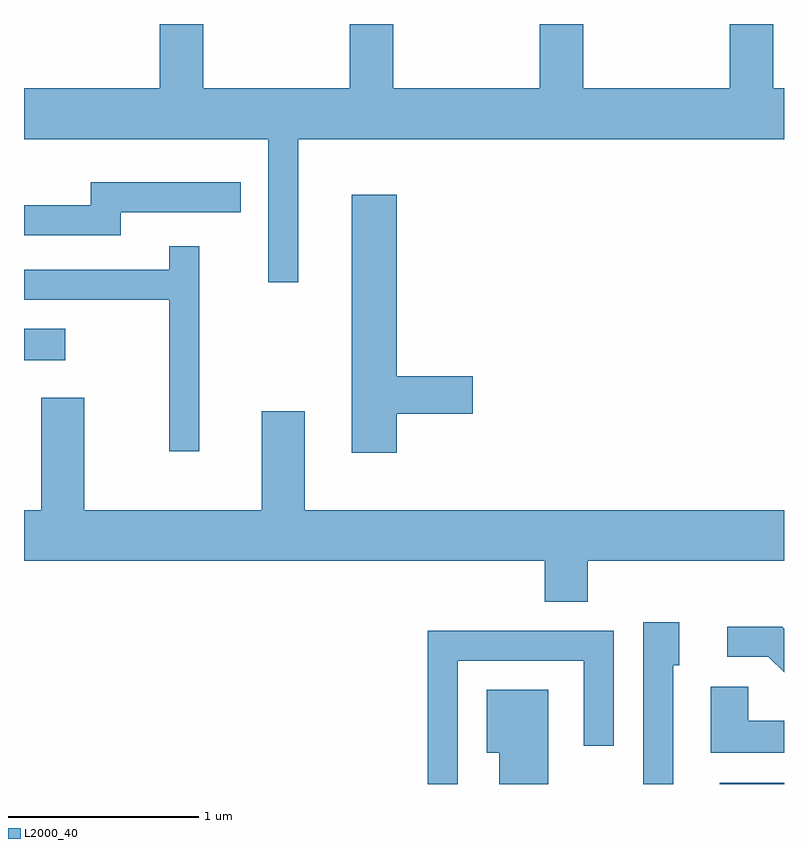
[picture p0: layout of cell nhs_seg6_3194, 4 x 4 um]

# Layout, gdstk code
import gdstk
lib = gdstk.Library(unit=1e-6, precision=1e-09)
def R(c, l, rs):  # rectangles x0, y0, x1, y1
    for r in rs: c.add(gdstk.rectangle(r[:2], r[2:], *l))
def P(c, l, *ps):  # polygons
    for p in ps: c.add(gdstk.Polygon(p, *l))
L2000_40 = (2000, 40)

nhs_seg6_3194 = lib.new_cell('nhs_seg6_3194')
R(nhs_seg6_3194, L2000_40, [(285.273,1582.162,285.611,1582.169), (281.611,1584.391,281.828,1584.559)])
P(nhs_seg6_3194, L2000_40, [(283.054,1585.556),(285.611,1585.556),(285.611,1585.824),(285.554,1585.824),(285.554,1586.162),(285.326,1586.162),(285.326,1585.824),(284.554,1585.824),(284.554,1586.162),(284.326,1586.162),(284.326,1585.824),(283.554,1585.824),(283.554,1586.162),(283.326,1586.162),(283.326,1585.824),(282.554,1585.824),(282.554,1586.162),(282.326,1586.162),(282.326,1585.824),(281.611,1585.824),(281.611,1585.556),(282.896,1585.556),(282.896,1584.803),(283.054,1584.803)],
  [(282.119,1585.171),(282.753,1585.171),(282.753,1585.329),(281.961,1585.329),(281.961,1585.209),(281.611,1585.209),(281.611,1585.051),(282.119,1585.051)],
  [(283.574,1584.111),(283.974,1584.111),(283.974,1584.309),(283.574,1584.309),(283.574,1585.264),(283.336,1585.264),(283.336,1583.906),(283.574,1583.906)],
  [(282.534,1584.993),(282.376,1584.993),(282.376,1584.869),(281.611,1584.869),(281.611,1584.711),(282.376,1584.711),(282.376,1583.913),(282.534,1583.913)],
  [(284.579,1583.336),(285.611,1583.336),(285.611,1583.604),(283.089,1583.604),(283.089,1584.124),(282.861,1584.124),(282.861,1583.604),(281.929,1583.604),(281.929,1584.194),(281.701,1584.194),(281.701,1583.604),(281.611,1583.604),(281.611,1583.336),(284.351,1583.336),(284.351,1583.121),(284.579,1583.121)],
  [(285.029,1582.786),(285.059,1582.786),(285.059,1583.014),(284.871,1583.014),(284.871,1582.162),(285.029,1582.162)],
  [(285.611,1582.98),(285.602,1582.989),(285.313,1582.989),(285.313,1582.831),(285.529,1582.831),(285.611,1582.749)],
  [(283.894,1582.811),(284.556,1582.811),(284.556,1582.363),(284.714,1582.363),(284.714,1582.969),(283.736,1582.969),(283.736,1582.162),(283.894,1582.162)],
  [(285.611,1582.494),(285.424,1582.494),(285.424,1582.674),(285.226,1582.674),(285.226,1582.326),(285.611,1582.326)],
  [(284.369,1582.659),(284.046,1582.659),(284.046,1582.326),(284.111,1582.326),(284.111,1582.162),(284.369,1582.162)])

lib.write_gds('nhs_seg6_3194.gds')
